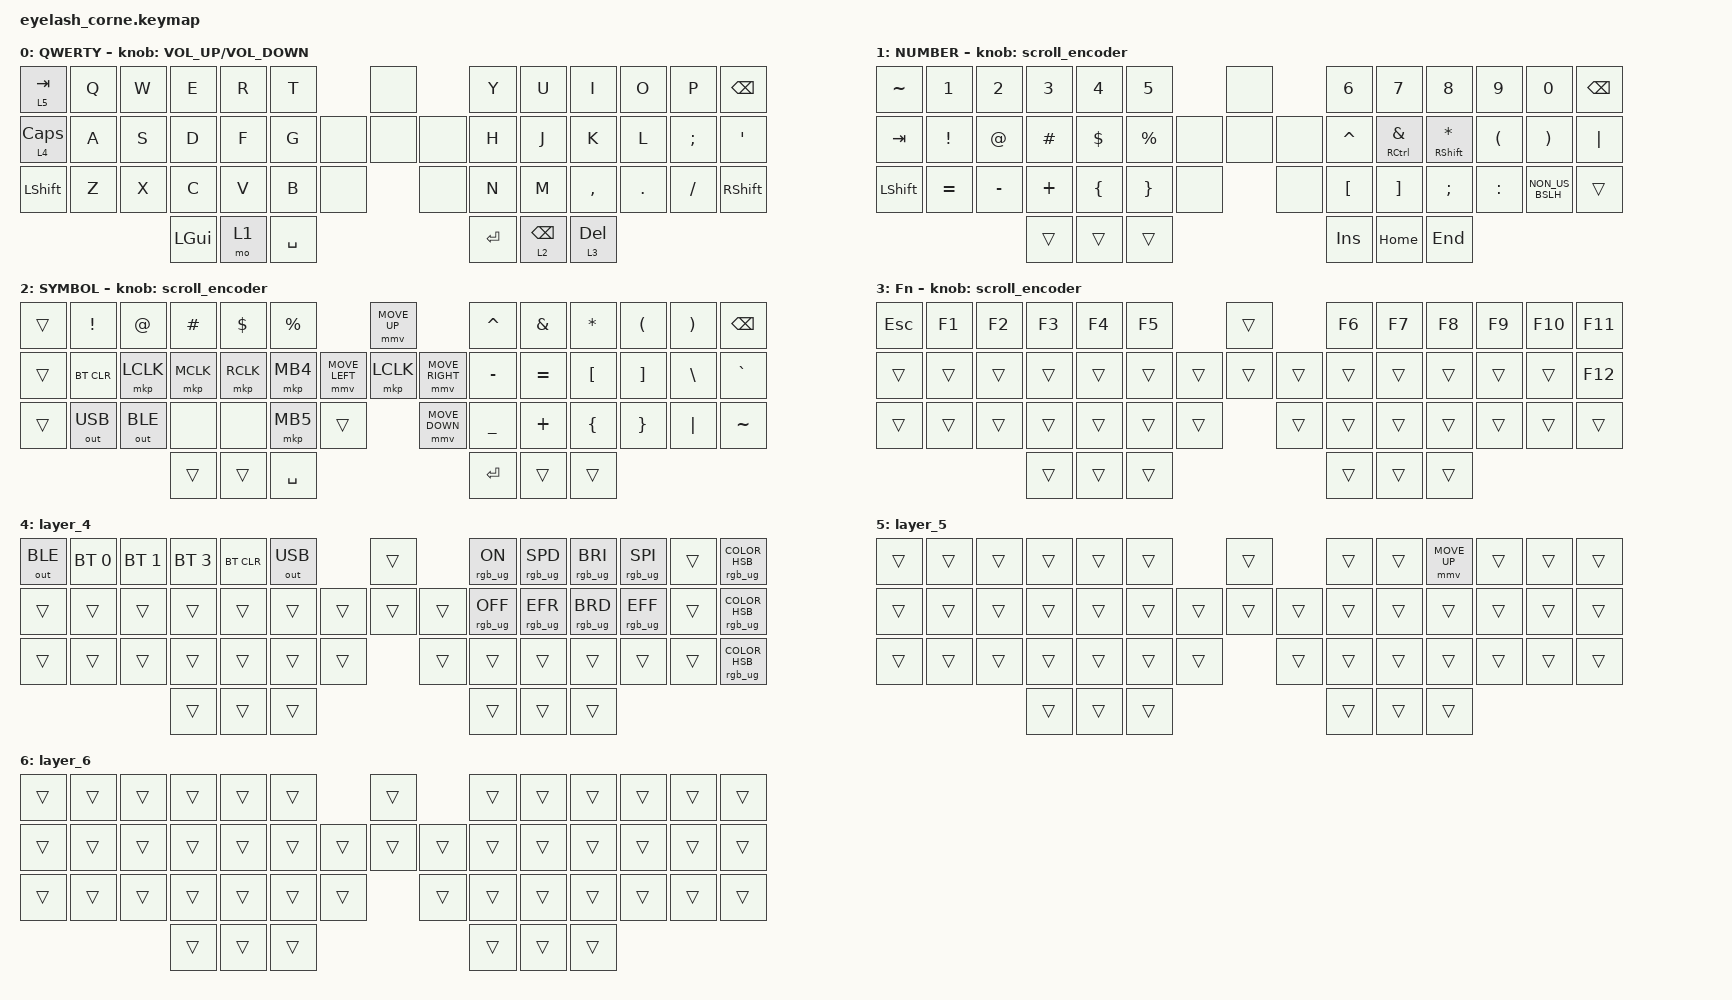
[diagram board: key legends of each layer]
#define ZMK_POINTING_DEFAULT_MOVE_VAL 1200  // 600
#define ZMK_POINTING_DEFAULT_SCRL_VAL 25   // 10

#include <input/processors.dtsi>
#include <zephyr/dt-bindings/input/input-event-codes.h>
#include <behaviors.dtsi>
#include <dt-bindings/zmk/bt.h>
#include <dt-bindings/zmk/keys.h>
#include <dt-bindings/zmk/pointing.h>
#include <dt-bindings/zmk/rgb.h>

&mmv_input_listener { input-processors = <&zip_xy_scaler 2 1>; };

&msc_input_listener { input-processors = <&zip_scroll_scaler 2 1>; };

&msc {
    acceleration-exponent = <1>;      // 0
    time-to-max-speed-ms = <100>;       // 300
    delay-ms = <0>;                   // 0
};

&mmv {
    time-to-max-speed-ms = <500>;
    acceleration-exponent = <1>;
    trigger-period-ms = <16>;
};

/ {
    behaviors {
        Control_Mod_L: Control_Mod_L {
            compatible = "zmk,behavior-hold-tap";
            label = "CONTROL_MOD_L";
            bindings = <&kp>, <&kp>;

            #binding-cells = <2>;
            tapping-term-ms = <200>;
            quick-tap-ms = <175>;
            flavor = "tap-preferred";
            hold-trigger-key-positions = <42 43 44 45 46 47 7 8 9 10 11 12 22 23 24 25 26 27 36 37 38 39 40 41 45 46 47>;
            hold-trigger-on-release;
        };

        Control_Mod_R: Control_Mod_R {
            compatible = "zmk,behavior-hold-tap";
            label = "CONTROL_MOD_R";
            bindings = <&kp>, <&kp>;

            #binding-cells = <2>;
            tapping-term-ms = <300>;
            quick-tap-ms = <175>;
            flavor = "tap-preferred";
            hold-trigger-key-positions = <42 43 44 45 46 47 45 46 47 0 1 2 3 4 5 13 14 15 16 17 18 28 29 30 31 32 33 28 29 30 31 32 33>;
            hold-trigger-on-release;
        };

        Shift_Caps_Word: Shift_Caps_Word {
            compatible = "zmk,behavior-tap-dance";
            label = "SHIFT_CAPS_WORD";
            #binding-cells = <0>;
            bindings = <&sk LEFT_SHIFT>, <&caps_word>;

            tapping-term-ms = <200>;
        };

        arrow_scroll: arrow_scroll {
            compatible = "zmk,behavior-hold-tap";
            label = "ARROW_SCROLL";
            bindings = <&msc>, <&kp>;

            #binding-cells = <2>;
            tapping-term-ms = <200>;
            flavor = "tap-preferred";
        };

        Contro_Mod_Universal: Contro_Mod_Universal {
            compatible = "zmk,behavior-hold-tap";
            label = "CONTRO_MOD_UNIVERSAL";
            bindings = <&kp>, <&kp>;

            #binding-cells = <2>;
            tapping-term-ms = <200>;
            quick-tap-ms = <175>;
            flavor = "tap-preferred";
        };
    };

    combos {
        compatible = "zmk,combos";

        Sleep {
            bindings = <&kp LA(LG(C_POWER))>;
            key-positions = <42 44>;
        };

        Reopen_Closed_Tab {
            bindings = <&kp LS(LG(T))>;
            key-positions = <42 47>;
        };

        Volume_Up {
            bindings = <&kp C_VOLUME_UP>;
            key-positions = <46 47>;
        };

        Volume_Down {
            bindings = <&kp C_VOLUME_DOWN>;
            key-positions = <45 46>;
        };

        Mute {
            bindings = <&kp C_MUTE>;
            key-positions = <45 47>;
        };

        Brightness_Up {
            bindings = <&kp C_BRIGHTNESS_INC>;
            key-positions = <43 44>;
        };

        Brightness_Down {
            bindings = <&kp C_BRIGHTNESS_DEC>;
            key-positions = <42 43>;
        };

        Full-Screen_Left {
            bindings = <&kp LC(LEFT)>;
            key-positions = <42 28>;
        };

        Full-Screen_Right {
            bindings = <&kp RC(RIGHT)>;
            key-positions = <47 41>;
        };

        Mission_Control {
            bindings = <&kp LC(UP_ARROW)>;
            key-positions = <28 42 47 41>;
        };

        Caps_Word {
            bindings = <&caps_word>;
            key-positions = <28 41>;
        };
    };

    macros {
        show_or_hide_launchpad: show_or_hide_launchpad {
            compatible = "zmk,behavior-macro";
            #binding-cells = <0>;
            bindings =
                <&macro_press>,
                <&kp GLOBE>,
                <&macro_tap>,
                <&kp LS(A)>,
                <&macro_release>,
                <&kp GLOBE>;

            label = "SHOW_OR_HIDE_LAUNCHPAD";
        };
    };

    keymap {
        compatible = "zmk,keymap";

        default_layer {
            display-name = "QWERTY";
            bindings = <
&lt 5 TAB       &kp Q  &kp W  &kp E     &kp R  &kp T                      &none         &kp Y      &kp U            &kp I         &kp O    &kp P     &kp BSPC
&lt 4 CAPS      &kp A  &kp S  &kp D     &kp F  &kp G               &none  &none  &none  &kp H      &kp J            &kp K         &kp L    &kp SEMI  &kp SQT
&kp LEFT_SHIFT  &kp Z  &kp X  &kp C     &kp V  &kp B      &none           &none         &kp N      &kp M            &kp COMMA     &kp DOT  &kp FSLH  &kp RIGHT_SHIFT
                              &kp LGUI  &mo 1  &kp SPACE                                &kp ENTER  &lt 2 BACKSPACE  &lt 3 DELETE
            >;

            sensor-bindings = <&inc_dec_kp C_VOLUME_UP C_VOLUME_DOWN>;
        };

        lower_layer {
            display-name = "NUMBER";
            bindings = <
&kp TILDE       &kp N1           &kp N2       &kp N3    &kp N4          &kp N5                           &none         &kp N6            &kp N7                       &kp N8                    &kp N9                &kp N0                 &kp BSPC
&kp TAB         &kp EXCLAMATION  &kp AT_SIGN  &kp HASH  &kp DOLLAR      &kp PERCENT               &none  &none  &none  &kp CARET         &mt RIGHT_CONTROL AMPERSAND  &mt RIGHT_SHIFT ASTERISK  &kp LEFT_PARENTHESIS  &kp RIGHT_PARENTHESIS  &kp PIPE
&kp LEFT_SHIFT  &kp EQUAL        &kp MINUS    &kp PLUS  &kp LEFT_BRACE  &kp RIGHT_BRACE  &none           &none         &kp LEFT_BRACKET  &kp RIGHT_BRACKET            &kp SEMICOLON             &kp COLON             &kp NON_US_BSLH        &trans
                                              &trans    &trans          &trans                                         &kp INS           &kp HOME                     &kp END
            >;

            sensor-bindings = <&scroll_encoder>;
        };

        raise_layer {
            display-name = "SYMBOL";
            bindings = <
&trans  &kp EXCL      &kp AT        &kp HASH   &kp DLLR   &kp PRCNT                            &mmv MOVE_UP                     &kp CARET  &kp AMPS   &kp ASTRK  &kp LPAR  &kp RPAR  &kp BSPC
&trans  &bt BT_CLR    &mkp LCLK     &mkp MCLK  &mkp RCLK  &mkp MB4             &mmv MOVE_LEFT  &mkp LCLK       &mmv MOVE_RIGHT  &kp MINUS  &kp EQUAL  &kp LBKT   &kp RBKT  &kp BSLH  &kp GRAVE
&trans  &out OUT_USB  &out OUT_BLE  &none      &none      &mkp MB5   &trans                    &mmv MOVE_DOWN                   &kp UNDER  &kp PLUS   &kp LBRC   &kp RBRC  &kp PIPE  &kp TILDE
                                    &trans     &trans     &kp SPACE                                                             &kp RET    &trans     &trans
            >;

            sensor-bindings = <&scroll_encoder>;
        };

        layer_3 {
            display-name = "Fn";
            bindings = <
&kp ESCAPE  &kp F1  &kp F2  &kp F3  &kp F4  &kp F5                    &trans          &kp F6  &kp F7  &kp F8  &kp F9  &kp F10  &kp F11
&trans      &trans  &trans  &trans  &trans  &trans            &trans  &trans  &trans  &trans  &trans  &trans  &trans  &trans   &kp F12
&trans      &trans  &trans  &trans  &trans  &trans  &trans            &trans          &trans  &trans  &trans  &trans  &trans   &trans
                            &trans  &trans  &trans                                    &trans  &trans  &trans
            >;

            sensor-bindings = <&scroll_encoder>;
        };

        layer_4 {
            bindings = <
&out OUT_BLE  &bt BT_SEL 0  &bt BT_SEL 1  &bt BT_SEL 3  &bt BT_CLR  &out OUT_USB                    &trans          &rgb_ug RGB_ON   &rgb_ug RGB_SPD  &rgb_ug RGB_BRI  &rgb_ug RGB_SPI  &trans  &rgb_ug RGB_COLOR_HSB(251,85,46)
&trans        &trans        &trans        &trans        &trans      &trans                  &trans  &trans  &trans  &rgb_ug RGB_OFF  &rgb_ug RGB_EFR  &rgb_ug RGB_BRD  &rgb_ug RGB_EFF  &trans  &rgb_ug RGB_COLOR_HSB(163,35,94)
&trans        &trans        &trans        &trans        &trans      &trans        &trans            &trans          &trans           &trans           &trans           &trans           &trans  &rgb_ug RGB_COLOR_HSB(352,77,47)
                                          &trans        &trans      &trans                                          &trans           &trans           &trans
            >;
        };

        layer_5 {
            bindings = <
&trans  &trans  &trans  &trans  &trans  &trans                    &trans          &trans  &trans  &mmv MOVE_UP  &trans  &trans  &trans
&trans  &trans  &trans  &trans  &trans  &trans            &trans  &trans  &trans  &trans  &trans  &trans        &trans  &trans  &trans
&trans  &trans  &trans  &trans  &trans  &trans  &trans            &trans          &trans  &trans  &trans        &trans  &trans  &trans
                        &trans  &trans  &trans                                    &trans  &trans  &trans
            >;
        };

        layer_6 {
            bindings = <
&trans  &trans  &trans  &trans  &trans  &trans                    &trans          &trans  &trans  &trans  &trans  &trans  &trans
&trans  &trans  &trans  &trans  &trans  &trans            &trans  &trans  &trans  &trans  &trans  &trans  &trans  &trans  &trans
&trans  &trans  &trans  &trans  &trans  &trans  &trans            &trans          &trans  &trans  &trans  &trans  &trans  &trans
                        &trans  &trans  &trans                                    &trans  &trans  &trans
            >;
        };
    };

    conditional_layers { compatible = "zmk,conditional-layers"; };
};
